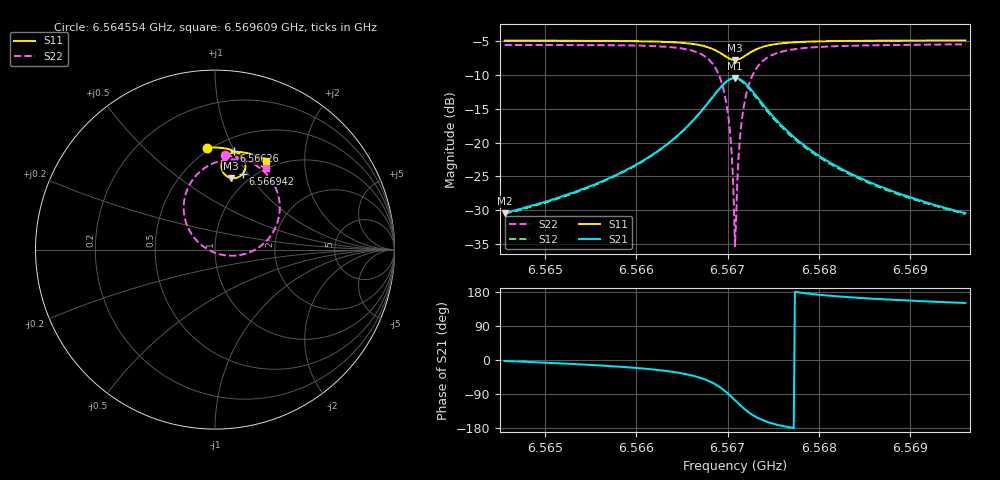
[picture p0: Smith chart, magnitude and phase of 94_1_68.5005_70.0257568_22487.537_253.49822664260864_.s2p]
#  HZ  S  RI  R  50.00
! Rohde & Schwarz Vector Network Analyzer
! Rohde-Schwarz,ZNB20-2Port,1311601062101988,3.16
! Created: UTC 3/20/2024, 4:52:46 PM
! freq[Hz]  re:S11  im:S11  re:S21  im:S21  re:S12  im:S12  re:S22  im:S22
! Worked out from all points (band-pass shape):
!   401 points, 6.564554 GHz to 6.569609 GHz, reference 50 ohm
!   highest |S21| = -10.41 dB at 6.567081 GHz (marker M1); lowest = -30.5 dB at 6.564554 GHz (marker M2)
!   |S21| within 3 dB of the highest: 6.566828 GHz to 6.567334 GHz (506.2 kHz wide, 0.00771 % of centre)
!   lowest |S11| = -7.8 dB at 6.567081 GHz (marker M3), VSWR 2.38, Z = 42 + j40.3 ohm
!   |S11| at or under -10 dB: nowhere
!   |S22| runs from -35.3 to -5.4 dB; largest |S21 - S12| = 0.015
!   S11 on the Smith chart (normalised r, x): 6.564554 GHz: 0.48, +0.80; 6.56626 GHz: 0.63, +1.00; 6.566942 GHz: 0.89, +0.95; 6.569609 GHz: 0.89, +1.30
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6.5645539e9  -0.0468 0.5674  0.03 -0.00129  0.0296 -0.00194  0.0559 0.5259
6.5654006e9  0.0237 0.5675  0.0442 -0.00928  0.0434 -0.00986  0.1397 0.5098
6.5662473e9  0.106 0.5493  0.0785 -0.0395  0.0774 -0.0404  0.2605 0.4461
6.56626e9  0.1074 0.5487  0.0794 -0.0405  0.0781 -0.0414  0.2631 0.444
6.566538e9  0.1414 0.5273  0.1021 -0.0769  0.1004 -0.0786  0.3233 0.3721
6.5667402e9  0.1653 0.4922  0.1154 -0.1385  0.1125 -0.1415  0.3603 0.2531
6.5668539e9  0.1694 0.4573  0.1035 -0.1997  0.098 -0.2038  0.3424 0.1363
6.5669424e9  0.1553 0.4237  0.062 -0.2576  0.0525 -0.261  0.2655 0.0287
6.5669803e9  0.1417 0.4106  0.0304 -0.2788  0.0189 -0.2807  0.2064 -0.00907
6.5670182e9  0.1236 0.4012  -0.00927 -0.2927  -0.0224 -0.2921  0.1332 -0.0314
6.5670435e9  0.1095 0.3981  -0.0389 -0.296  -0.0527 -0.2929  0.0793 -0.034
6.5670688e9  0.0948 0.3983  -0.0696 -0.2933  -0.0831 -0.2878  0.0248 -0.0256
6.5670814e9  0.0875 0.3995  -0.0847 -0.2896  -0.0978 -0.2829  -0.00158 -0.0171
6.5671067e9  0.0735 0.4044  -0.1134 -0.278  -0.1254 -0.2689  -0.0508 0.00739
6.5671319e9  0.0612 0.4122  -0.1386 -0.2612  -0.149 -0.2504  -0.0929 0.0406
6.5671699e9  0.047 0.4276  -0.168 -0.2297  -0.1753 -0.2174  -0.1392 0.1002
6.5672204e9  0.0372 0.451  -0.1903 -0.1835  -0.1935 -0.1708  -0.17 0.1846
6.5672836e9  0.0368 0.478  -0.1962 -0.1306  -0.1956 -0.1196  -0.171 0.2774
6.5675111e9  0.0746 0.5299  -0.1504 -0.0295  -0.1469 -0.0248  -0.0678 0.4473
6.5679281e9  0.1377 0.5435  -0.0859 0.00902  -0.0838 0.0103  0.0745 0.502
6.5687748e9  0.2197 0.5253  -0.0418 0.0156  -0.0409 0.016  0.2064 0.4863
6.5696089e9  0.2827 0.4963  -0.0262 0.0149  -0.0255 0.015  0.2835 0.4528
